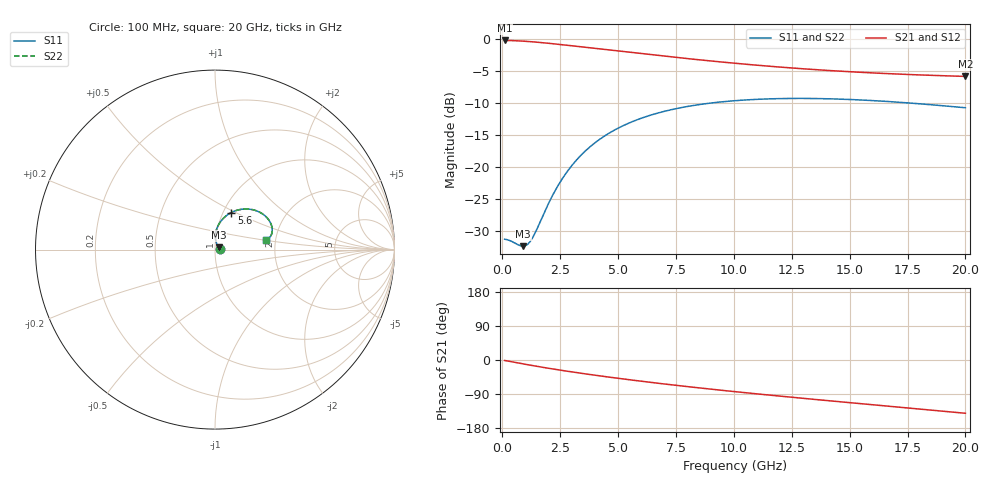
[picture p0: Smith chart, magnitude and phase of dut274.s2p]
! Created with skrf 1.9.0 (http://scikit-rf.org).
# GHz S RI R 50.0
!freq ReS11 ImS11 ReS21 ImS21 ReS12 ImS12 ReS22 ImS22
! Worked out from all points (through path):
!   200 points, 100 MHz to 20 GHz, reference 50 ohm
!   highest |S21| = -0.24 dB at 100 MHz (marker M1); lowest = -5.9 dB at 20 GHz (marker M2)
!   group delay of S21, straight-line fit = 18.6 ps
!   lowest |S11| = -32.3 dB at 900 MHz (marker M3), VSWR 1.05, Z = 52 + j1.44 ohm
!   |S11| at or under -10 dB: start of sweep to 9.026 GHz; 17.58 GHz to end of sweep
!   |S22| runs from -32.3 to -9.3 dB; largest |S21 - S12| = 2.3e-15
!   S11 on the Smith chart (normalised r, x): 100 MHz: 1.06, +0.00; 5.6 GHz: 1.09, +0.48; 20 GHz: 1.78, +0.22
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0.1  0.0274 0.00126  0.9722 -0.0197  0.9722 -0.0197  0.0274 0.00126
0.5  0.025 0.00647  0.9637 -0.0973  0.9637 -0.0973  0.025 0.00647
0.9  0.0198 0.0138  0.9452 -0.1713  0.9452 -0.1713  0.0198 0.0138
1.1  0.0166 0.0187  0.9328 -0.2064  0.9328 -0.2064  0.0166 0.0187
1.3  0.0133 0.0246  0.9185 -0.2399  0.9185 -0.2399  0.0133 0.0246
1.5  0.0102 0.0313  0.9026 -0.2718  0.9026 -0.2718  0.0102 0.0313
2.1  0.0033 0.0566  0.848 -0.3577  0.848 -0.3577  0.0033 0.0566
2.6  0.00255 0.0816  0.7971 -0.4183  0.7971 -0.4183  0.00255 0.0816
3  0.00584 0.1025  0.7545 -0.4603  0.7545 -0.4603  0.00584 0.1025
3.5  0.0147 0.1282  0.6999 -0.5055  0.6999 -0.5055  0.0147 0.1282
4  0.0282 0.1519  0.6447 -0.5435  0.6447 -0.5435  0.0282 0.1519
4.5  0.0453 0.1728  0.5896 -0.5749  0.5896 -0.5749  0.0453 0.1728
5  0.065 0.1903  0.5351 -0.6005  0.5351 -0.6005  0.065 0.1903
5.6  0.0908 0.2065  0.471 -0.6243  0.471 -0.6243  0.0908 0.2065
6.8  0.1442 0.2241  0.3489 -0.6526  0.3489 -0.6526  0.1442 0.2241
8.3  0.2054 0.2233  0.2109 -0.6598  0.2109 -0.6598  0.2054 0.2233
10.1  0.262 0.2009  0.0686 -0.6405  0.0686 -0.6405  0.262 0.2009
11.7  0.2951 0.1713  -0.0383 -0.6073  -0.0383 -0.6073  0.2951 0.1713
13.4  0.314 0.1376  -0.1349 -0.5617  -0.1349 -0.5617  0.314 0.1376
15  0.319 0.1081  -0.2128 -0.5121  -0.2128 -0.5121  0.319 0.1081
16.7  0.3138 0.0824  -0.2842 -0.4537  -0.2842 -0.4537  0.3138 0.0824
20  0.2848 0.0561  -0.3938 -0.3237  -0.3938 -0.3237  0.2848 0.0561
